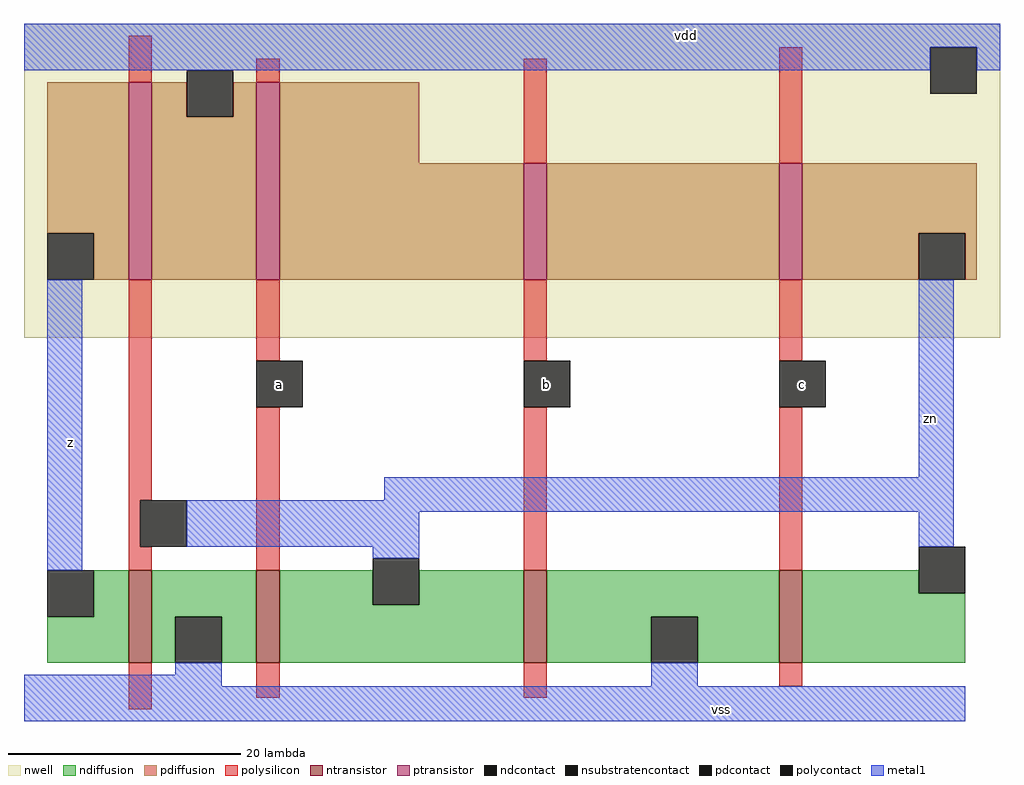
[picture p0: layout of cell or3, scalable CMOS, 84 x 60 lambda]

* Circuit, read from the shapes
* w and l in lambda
.subckt or3 a b c vdd vss z zn
M1 vss zn z VSUBS nfet w=8 l=2
M2 zn a vss VSUBS nfet w=8 l=2
M3 vss b zn VSUBS nfet w=8 l=2
M4 zn c vss VSUBS nfet w=8 l=2
M5 vdd zn z vdd pfet w=17 l=2
M6 n1 a vdd vdd pfet w=17 l=2
M7 n2 b n1 vdd pfet w=10 l=2
M8 zn c n2 vdd pfet w=10 l=2
.ends

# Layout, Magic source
magic
tech scmos
<< nwell >>
rect -15 33 69 60
<< polysilicon >>
rect -6 55 -4 59
rect 5 55 7 57
rect 28 48 30 57
rect 50 48 52 58
rect -6 19 -4 38
rect 5 31 7 38
rect 28 31 30 38
rect 50 31 52 38
rect -6 15 -5 19
rect -6 13 -4 15
rect 5 13 7 27
rect 28 13 30 27
rect 50 13 52 27
rect -6 1 -4 5
rect 5 2 7 5
rect 28 2 30 5
rect 50 3 52 5
<< ndiffusion >>
rect -9 9 -6 13
rect -13 5 -6 9
rect -4 9 5 13
rect -4 5 -2 9
rect 2 5 5 9
rect 7 10 15 13
rect 19 10 28 13
rect 7 5 28 10
rect 30 9 50 13
rect 30 5 39 9
rect 43 5 50 9
rect 52 11 62 13
rect 52 5 66 11
<< pdiffusion >>
rect -13 42 -6 55
rect -9 38 -6 42
rect -4 52 -1 55
rect 3 52 5 55
rect -4 38 5 52
rect 7 48 19 55
rect 7 38 28 48
rect 30 38 50 48
rect 52 42 67 48
rect 52 38 62 42
rect 66 38 67 42
<< metal1 >>
rect -15 58 69 60
rect -15 56 63 58
rect 67 56 69 58
rect -13 13 -10 38
rect 62 21 65 38
rect 16 19 65 21
rect -1 18 65 19
rect -1 15 19 18
rect 15 14 19 15
rect 62 15 65 18
rect -2 4 2 5
rect -15 3 2 4
rect 39 3 43 5
rect -15 0 66 3
<< ntransistor >>
rect -6 5 -4 13
rect 5 5 7 13
rect 28 5 30 13
rect 50 5 52 13
<< ptransistor >>
rect -6 38 -4 55
rect 5 38 7 55
rect 28 38 30 48
rect 50 38 52 48
<< polycontact >>
rect 5 27 9 31
rect 28 27 32 31
rect 50 27 54 31
rect -5 15 -1 19
<< ndcontact >>
rect -13 9 -9 13
rect -2 5 2 9
rect 15 10 19 14
rect 39 5 43 9
rect 62 11 66 15
<< pdcontact >>
rect -13 38 -9 42
rect -1 52 3 56
rect 62 38 66 42
<< nsubstratencontact >>
rect 63 54 67 58
<< labels >>
rlabel metal1 -11 24 -11 24 3 z
rlabel polycontact 7 29 7 29 1 a
rlabel polycontact 30 29 30 29 1 b
rlabel polycontact 52 29 52 29 1 c
rlabel metal1 42 59 42 59 5 vdd
rlabel metal1 45 1 45 1 1 vss
rlabel metal1 63 26 63 26 1 zn
<< end >>
